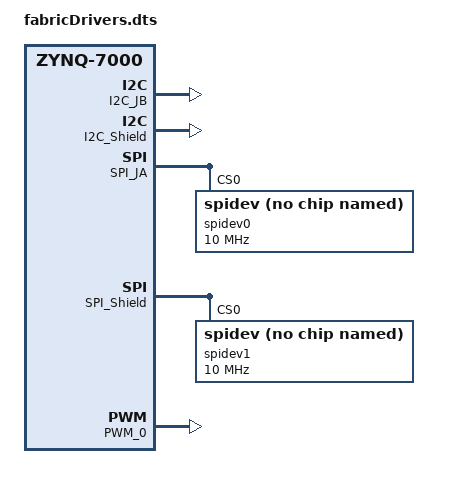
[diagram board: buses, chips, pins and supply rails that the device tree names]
/dts-v1/;
/plugin/;

/{
	compatible = "digilent,zynq-artyz7", "xlnx,zynq-7000";
	part-number = "Arty Z7 I2C and SPI";
	version = "1.0";

	fragment@0 {
		target-path = "/";
		#address-cells = <0x00000001>;                                                                          
        #size-cells = <0x00000001>; 
		__overlay__{	
			#address-cells = <1>;
			#size-cells = <1>;
			aliases {	
				spi2 = "/axi_quad_spi@41e10000";
				spi1 = "/axi_quad_spi@41e00000";
			};
		};	
	};


	fragment@1 {
		target-path = "/";
		#address-cells = <0x00000001>;                                                                          
        #size-cells = <0x00000001>; 
		__overlay__{
			#address-cells = <1>;
			#size-cells = <1>;
			I2C_JB: i2c@41610000 {
				#address-cells = <1>;
				#size-cells = <0>;
				clock-names = "ref_clk";
				clocks = <0x01 0x15>;
				compatible = "xlnx,xps-iic-2.00.a";
				interrupt-parent = <0x4>;
				interrupts = <0 32 4>;
				reg = <0x41610000 0x10000>;
			};
			I2C_Shield: i2c@41600000 {
				#address-cells = <1>;
				#size-cells = <0>;
				clock-names = "ref_clk";
				clocks = <0x01 0x15>;
				compatible = "xlnx,xps-iic-2.00.a";
				interrupt-parent = <0x4>;
				interrupts = <0 29 4>;
				reg = <0x41600000 0x10000>;
			};
			SPI_JA: axi_quad_spi@41e10000 {
				bits-per-word = <8>;
				compatible = "xlnx,xps-spi-2.00.a";
				fifo-size = <16>;
				interrupt-parent = <0x4>;
				interrupts = <0 31 1>;
				num-cs = <0x1>;
				reg = <0x41e10000 0x10000>;
				xlnx,num-ss-bits = <0x1>;
				xlnx,spi-mode = <0>;
				#address-cells = <0x00000001>;
                #size-cells = <0x00000000>;
                spidev0: spidev@0 {
					#address-cells = <0x00000001>;
        			#size-cells = <0x00000000>;
					compatible = "linux,spidev";
					reg = <0x0>;
					spi-max-frequency = <10000000>;
				};
			};
			SPI_Shield: axi_quad_spi@41e00000 {
				bits-per-word = <8>;
				compatible = "xlnx,xps-spi-2.00.a";
				fifo-size = <16>;
				interrupt-parent = <0x4>;
				interrupts = <0 30 1>;
				num-cs = <0x1>;
				reg = <0x41e00000 0x10000>;
				xlnx,num-ss-bits = <0x1>;
				xlnx,spi-mode = <0>;
				#address-cells = <0x00000001>;
   				#size-cells = <0x00000000>;
				spidev1: spidev@0 {
					#address-cells = <0x00000001>;
        			#size-cells = <0x00000000>;
					compatible = "linux,spidev";
					reg = <0x0>;
					spi-max-frequency = <10000000>;
				};
			};
			PWM_0: PWM@43c00000 {
				compatible = "generic-uio";
				reg = <0x43c00000 0x10000>;
				xlnx,pwm-axi-addr-width = <0x7>;
				xlnx,pwm-axi-data-width = <0x20>;
			};
		};
	};
};
